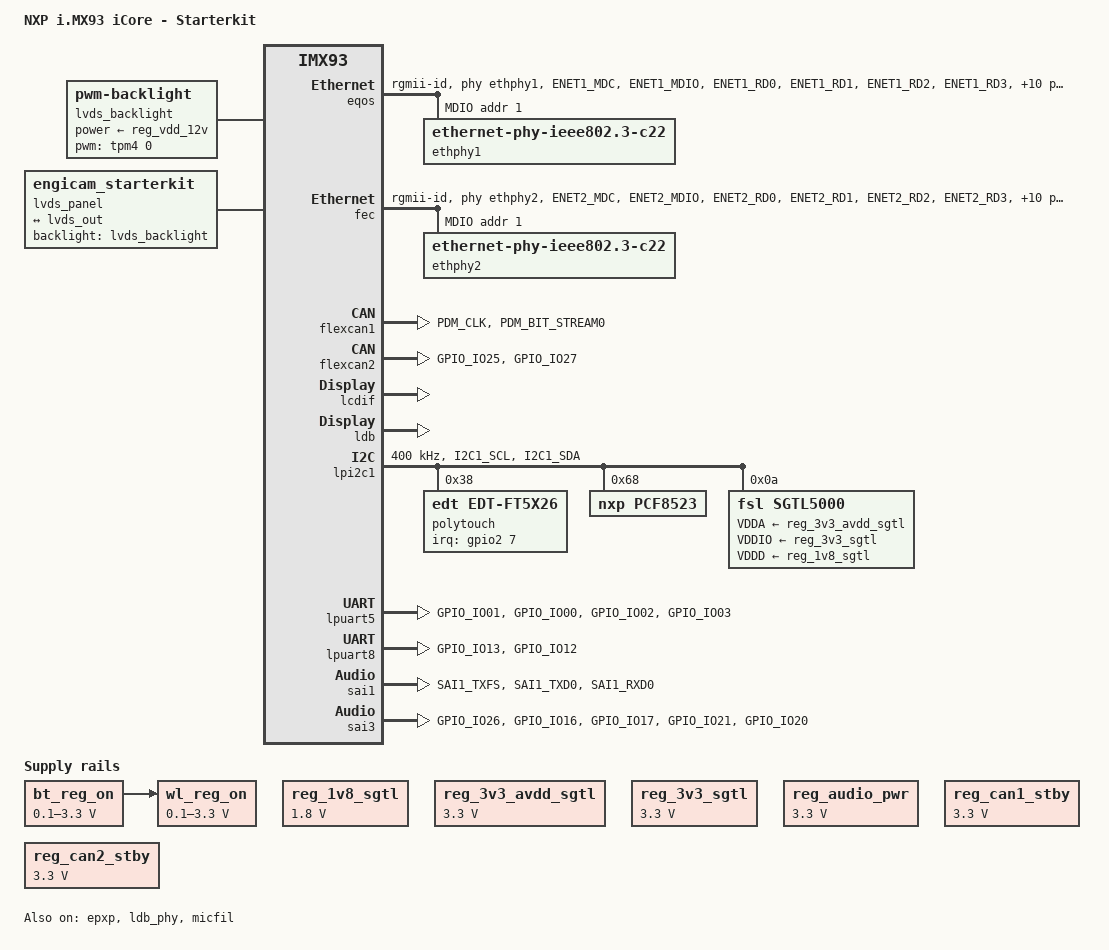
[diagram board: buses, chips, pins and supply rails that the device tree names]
// SPDX-License-Identifier: (GPL-2.0+ OR MIT)
/*
 * Copyright 2022 NXP
 */

/dts-v1/;

#include "imx93-icore.dtsi"
#include <dt-bindings/net/mxl-8611x.h>

/ {
	model = "NXP i.MX93 iCore - Starterkit";

	bt_reg_on: regulator-btregon {
		compatible = "regulator-gpio";
		regulator-name = "BT_REG_ON";
		pinctrl-names = "default";
		regulator-min-microvolt = <100000>;
		regulator-max-microvolt = <3300000>;
		states = <3300000 0x1>,
				 <100000 0x0>;
		gpios = <&gpio2 19 GPIO_ACTIVE_HIGH>;
		regulator-always-on;
	};

	lvds_backlight: lvds_backlight {
		compatible = "pwm-backlight";
		pwms = <&tpm4 0 100000 0>;
		power-supply = <&reg_vdd_12v>;
		status = "okay";

		brightness-levels = < 0  1  2  3  4  5  6  7  8  9
				     10 11 12 13 14 15 16 17 18 19
				     20 21 22 23 24 25 26 27 28 29
				     30 31 32 33 34 35 36 37 38 39
				     40 41 42 43 44 45 46 47 48 49
				     50 51 52 53 54 55 56 57 58 59
				     60 61 62 63 64 65 66 67 68 69
				     70 71 72 73 74 75 76 77 78 79
				     80 81 82 83 84 85 86 87 88 89
				     90 91 92 93 94 95 96 97 98 99
				    100>;
		default-brightness-level = <80>;
	};

	lvds_panel {
		compatible = "engicam_starterkit";
		backlight = <&lvds_backlight>;

		port {
			panel_lvds_in: endpoint {
				remote-endpoint = <&lvds_out>;
			};
		};
	};

	reg_1v8_sgtl: reg_1v8_sgtl_regulator {
		compatible = "regulator-fixed";
		regulator-name = "1v8_sgtl";
		regulator-min-microvolt = <1800000>;
		regulator-max-microvolt = <1800000>;
		always-on;
	};

	reg_3v3_avdd_sgtl: reg_3v3_avdd_regulator {
		compatible = "regulator-fixed";
		regulator-name = "3v3_avdd_sgtl";
		regulator-min-microvolt = <3300000>;
		regulator-max-microvolt = <3300000>;
		always-on;
	};

	reg_3v3_sgtl: reg_3v3_sgtl_regulator {
		compatible = "regulator-fixed";
		regulator-name = "3v3_sgtl";
		regulator-min-microvolt = <3300000>;
		regulator-max-microvolt = <3300000>;
		always-on;
	};

	reg_audio_pwr: regulator-audio-pwr {
		compatible = "regulator-fixed";
		regulator-name = "audio-pwr";
		regulator-min-microvolt = <3300000>;
		regulator-max-microvolt = <3300000>;
		enable-active-high;
		regulator-always-on;
	};

	reg_can1_stby: regulator-can1-stby {
		compatible = "regulator-fixed";
		regulator-name = "can1-stby";
		regulator-min-microvolt = <3300000>;
		regulator-max-microvolt = <3300000>;
		enable-active-low;
	};

	reg_can2_stby: regulator-can2-stby {
		compatible = "regulator-fixed";
		regulator-name = "can2-stby";
		regulator-min-microvolt = <3300000>;
		regulator-max-microvolt = <3300000>;
		enable-active-low;
	};

	sound {
		compatible = "simple-audio-card";
		simple-audio-card,name = "imx93-sgtl5000";
		simple-audio-card,format = "i2s";
		simple-audio-card,bitclock-master = <&dailink_master>;
		simple-audio-card,frame-master = <&dailink_master>;
		/*simple-audio-card,mclk-fs = <1>;*/
		simple-audio-card,cpu {
			sound-dai = <&sai3>;
		};

		dailink_master: simple-audio-card,codec {
			sound-dai = <&sgtl5000>;
			clocks = <&clk IMX93_CLK_SAI3_IPG>;
		};
	};

	wl_reg_on: regulator-wlregon {
		compatible = "regulator-gpio";
		pinctrl-names = "default";
		regulator-name = "WL_REG_ON";
		regulator-min-microvolt = <100000>;
		regulator-max-microvolt = <3300000>;
		states = <3300000 0x1>,
				 <100000 0x0>;
		gpios = <&gpio2 22 GPIO_ACTIVE_HIGH>;
		enable-active-high;
		vin-supply = <&bt_reg_on>;
	};
};

&cameradev {
	status = "disabled";
};

&eqos {
	pinctrl-names = "default";
	pinctrl-0 = <&pinctrl_eqos>;
	phy-mode = "rgmii-id";
	phy-handle = <&ethphy1>;
	snps,reset-gpio = <&gpio1 12 GPIO_ACTIVE_LOW>;
	snps,reset-active-low;
	/* Reset time is 20ms, 100ms */
	snps,reset-delays-us = <0 20000 100000>;
	status = "okay";

	mdio {
		compatible = "snps,dwmac-mdio";
		#address-cells = <1>;
		#size-cells = <0>;

		ethphy1: ethernet-phy@1 {
			compatible = "ethernet-phy-ieee802.3-c22";
			reg = <1>;
			mxl-8611x,led0_cfg = <(
				MXL8611X_LEDX_CFG_LINK_UP_RX_ACT_ON |
				MXL8611X_LEDX_CFG_LINK_UP_TX_ACT_ON |
				MXL8611X_LEDX_CFG_TRAFFIC_ACT_BLINK_IND
			)>;
			mxl-8611x,led1_cfg = <(
				MXL8611X_LEDX_CFG_LINK_UP_10MB_ON |
				MXL8611X_LEDX_CFG_LINK_UP_100MB_ON |
				MXL8611X_LEDX_CFG_LINK_UP_1GB_ON
			)>;
		};
	};
};

&epxp {
	status = "okay";
};

&fec {
	pinctrl-names = "default";
	pinctrl-0 = <&pinctrl_fec>;
	phy-mode = "rgmii-id";
	phy-handle = <&ethphy2>;
	snps,reset-gpio = <&gpio3 7 GPIO_ACTIVE_LOW>;
	snps,reset-active-low;
	/* Reset time is 20ms, 100ms */
	snps,reset-delays-us = <0 20000 100000>;	
	fsl,magic-packet;
	status = "okay";

	mdio {
		#address-cells = <1>;
		#size-cells = <0>;

		ethphy2: ethernet-phy@1 {
			compatible = "ethernet-phy-ieee802.3-c22";
			reg = <1>;
			mxl-8611x,led0_cfg = <(
				MXL8611X_LEDX_CFG_LINK_UP_RX_ACT_ON |
				MXL8611X_LEDX_CFG_LINK_UP_TX_ACT_ON |
				MXL8611X_LEDX_CFG_TRAFFIC_ACT_BLINK_IND
			)>;
			mxl-8611x,led1_cfg = <(
				MXL8611X_LEDX_CFG_LINK_UP_10MB_ON |
				MXL8611X_LEDX_CFG_LINK_UP_100MB_ON |
				MXL8611X_LEDX_CFG_LINK_UP_1GB_ON
			)>;
		};
	};
};

&flexcan1 {
	pinctrl-names = "default";
	pinctrl-0 = <&pinctrl_flexcan1>;
	fsl,stop-mode = <&anomix_ns_gpr 0x10 4>;
	status = "okay";
};

&flexcan2 {
	pinctrl-names = "default";
	pinctrl-0 = <&pinctrl_flexcan2>;
	fsl,stop-mode = <&anomix_ns_gpr 0x10 4>;
	status = "okay";
};

&lcdif {
	status = "okay";
	assigned-clock-rates = <498000000>, <71142857>, <400000000>, <133333333>;
};

&ldb {
	status = "okay";

	lvds-channel@0 {
		status = "okay";

		port@1 {
			reg = <1>;

			lvds_out: endpoint {
				remote-endpoint = <&panel_lvds_in>;
			};
		};
	};
};

&ldb_phy {
	status = "okay";
};

/*
 * When add, delete or change any target device setting in &lpi2c1,
 * please synchronize the changes to the &i3c1 bus in imx93-11x11-evk-i3c.dts.
 */
&lpi2c1 {
	#address-cells = <1>;
	#size-cells = <0>;
	clock-frequency = <400000>;
	pinctrl-names = "default", "sleep";
	pinctrl-0 = <&pinctrl_lpi2c1>;
	pinctrl-1 = <&pinctrl_lpi2c1>;
	status = "okay";

	polytouch: edt-ft5x26@38 {
		compatible = "edt,edt-ft5x26";
		reg = <0x38>;
		pinctrl-names = "default";
		pinctrl-0 = <&edt_ft5x06_pins>;
		interrupt-parent = <&gpio2>;
		interrupts = <7 IRQ_TYPE_EDGE_FALLING>;
	};

	pcf8523: rtc@68 {
		compatible = "nxp,pcf8523";
		reg = <0x68>;
	};

	sgtl5000: codec@a {
		compatible = "fsl,sgtl5000";
		status = "okay";
		#sound-dai-cells = <0>;
		reg = <0x0a>;
		clocks = <&clk IMX93_CLK_SAI3_GATE>;
		clock-names = "mclk";
		assigned-clock-rates = <12000000>, <12000000>;
		VDDA-supply = <&reg_3v3_avdd_sgtl>;
		VDDIO-supply = <&reg_3v3_sgtl>;
		VDDD-supply = <&reg_1v8_sgtl>;
	};
};

&lpuart5 { /* RS485 */
	pinctrl-names = "default";
	pinctrl-0 = <&pinctrl_uart5>;
	status = "okay";
};

&lpuart8 { /* RS232 */
	pinctrl-names = "default";
	pinctrl-0 = <&pinctrl_uart8>;
	status = "okay";
};

&micfil {
	#sound-dai-cells = <0>;
	pinctrl-names = "default";
	assigned-clocks = <&clk IMX93_CLK_PDM>;
	assigned-clock-parents = <&clk IMX93_CLK_AUDIO_PLL>;
	assigned-clock-rates = <196608000>;
	status = "okay";
};

&sai1 {
	#sound-dai-cells = <0>;
	pinctrl-names = "default";
	pinctrl-0 = <&pinctrl_sai1>;
	assigned-clocks = <&clk IMX93_CLK_SAI1>;
	assigned-clock-parents = <&clk IMX93_CLK_AUDIO_PLL>;
	assigned-clock-rates = <12288000>;
	status = "okay";
};

&sai3 {
	pinctrl-names = "default";
	#sound-dai-cells = <0>;
	pinctrl-0 = <&pinctrl_sai3>;
	assigned-clocks = <&clk IMX93_CLK_SAI3>;
	assigned-clock-parents = <&clk IMX93_CLK_AUDIO_PLL>;
	assigned-clock-rates = <24576000>;
	fsl,sai-mclk-direction-output;
	status = "okay";
};

&iomuxc {

	edt_ft5x06_pins: edt-ft5x06-pins-grp{
		fsl,pins = <
			MX93_PAD_GPIO_IO07__GPIO2_IO07	0x31e	/* INT */
		>;
	};

	pinctrl_eqos: eqosgrp {
		fsl,pins = <
			MX93_PAD_ENET1_MDC__ENET_QOS_MDC                        0x1e
			MX93_PAD_ENET1_MDIO__ENET_QOS_MDIO                      0x1e
			MX93_PAD_ENET1_RD0__ENET_QOS_RGMII_RD0                  0x1e
			MX93_PAD_ENET1_RD1__ENET_QOS_RGMII_RD1                  0x1e
			MX93_PAD_ENET1_RD2__ENET_QOS_RGMII_RD2                  0x1e
			MX93_PAD_ENET1_RD3__ENET_QOS_RGMII_RD3                  0x1e
			MX93_PAD_ENET1_RXC__CCM_ENET_QOS_CLOCK_GENERATE_RX_CLK  0x1e
			MX93_PAD_ENET1_RX_CTL__ENET_QOS_RGMII_RX_CTL            0x1e
			MX93_PAD_ENET1_TD0__ENET_QOS_RGMII_TD0                  0x1e
			MX93_PAD_ENET1_TD1__ENET_QOS_RGMII_TD1                  0x1e
			MX93_PAD_ENET1_TD2__ENET_QOS_RGMII_TD2                  0x1e
			MX93_PAD_ENET1_TD3__ENET_QOS_RGMII_TD3                  0x1e
			MX93_PAD_ENET1_TXC__CCM_ENET_QOS_CLOCK_GENERATE_TX_CLK  0x1e
			MX93_PAD_ENET1_TX_CTL__ENET_QOS_RGMII_TX_CTL            0x1e
			MX93_PAD_SAI1_TXC__GPIO1_IO12							0x1e
		>;
	};

	pinctrl_fec: fecgrp {
		fsl,pins = <
			MX93_PAD_ENET2_MDC__ENET1_MDC                   0x1e
			MX93_PAD_ENET2_MDIO__ENET1_MDIO                 0x1e
			MX93_PAD_ENET2_RD0__ENET1_RGMII_RD0             0x1e
			MX93_PAD_ENET2_RD1__ENET1_RGMII_RD1             0x1e
			MX93_PAD_ENET2_RD2__ENET1_RGMII_RD2             0x1e
			MX93_PAD_ENET2_RD3__ENET1_RGMII_RD3             0x1e
			MX93_PAD_ENET2_RXC__ENET1_RGMII_RXC             0x1e
			MX93_PAD_ENET2_RX_CTL__ENET1_RGMII_RX_CTL       0x1e
			MX93_PAD_ENET2_TD0__ENET1_RGMII_TD0             0x1e
			MX93_PAD_ENET2_TD1__ENET1_RGMII_TD1             0x1e
			MX93_PAD_ENET2_TD2__ENET1_RGMII_TD2             0x1e
			MX93_PAD_ENET2_TD3__ENET1_RGMII_TD3             0x1e
			MX93_PAD_ENET2_TXC__ENET1_RGMII_TXC             0x1e
			MX93_PAD_ENET2_TX_CTL__ENET1_RGMII_TX_CTL       0x1e
			MX93_PAD_SD2_RESET_B__GPIO3_IO07       			0x1e
		>;
	};

	pinctrl_flexcan1: flexcan1grp {
		fsl,pins = <
			MX93_PAD_PDM_CLK__CAN1_TX	0x139e
			MX93_PAD_PDM_BIT_STREAM0__CAN1_RX	0x139e
		>;
	};

	pinctrl_flexcan2: flexcan2grp {
		fsl,pins = <
			MX93_PAD_GPIO_IO25__CAN2_TX	0x139e
			MX93_PAD_GPIO_IO27__CAN2_RX	0x139e
		>;
	};

	pinctrl_laird: lairdgrp {
		fsl,pins = <
			MX93_PAD_GPIO_IO22__GPIO2_IO22			0x31e //WL_REG_ON
			MX93_PAD_GPIO_IO19__GPIO2_IO19			0x31e //BT_REG_ON
		>;
	};

	pinctrl_lpi2c1: lpi2c1grp {
		fsl,pins = <
			MX93_PAD_I2C1_SCL__LPI2C1_SCL			0x40000b9e
			MX93_PAD_I2C1_SDA__LPI2C1_SDA			0x40000b9e
		>;
	};

	pinctrl_lpi2c2: lpi2c2grp {
		fsl,pins = <
			MX93_PAD_I2C2_SCL__LPI2C2_SCL			0x40000b9e
			MX93_PAD_I2C2_SDA__LPI2C2_SDA			0x40000b9e
		>;
	};

	pinctrl_sai1: sai1grp {
		fsl,pins = <
			MX93_PAD_SAI1_TXFS__SAI1_TX_SYNC		0x31e
			MX93_PAD_SAI1_TXD0__SAI1_TX_DATA00		0x31e
			MX93_PAD_SAI1_RXD0__SAI1_RX_DATA00		0x31e
		>;
	};

	pinctrl_sai3: sai3grp {
		fsl,pins = <
			MX93_PAD_GPIO_IO26__SAI3_TX_SYNC		0x31e
			MX93_PAD_GPIO_IO16__SAI3_TX_BCLK		0x31e
			MX93_PAD_GPIO_IO17__SAI3_MCLK		0x31e
			MX93_PAD_GPIO_IO21__SAI3_TX_DATA00		0x31e
			MX93_PAD_GPIO_IO20__SAI3_RX_DATA00		0x31e
		>;
	};

	pinctrl_uart5: uart5grp {
		fsl,pins = <
			MX93_PAD_GPIO_IO01__LPUART5_RX			0x31e
			MX93_PAD_GPIO_IO00__LPUART5_TX			0x31e
			MX93_PAD_GPIO_IO02__LPUART5_CTS_B		0x31e
			MX93_PAD_GPIO_IO03__LPUART5_RTS_B		0x31e
		>;
	};

	pinctrl_uart8: uart8grp {
		fsl,pins = <
			MX93_PAD_GPIO_IO13__LPUART8_RX			0x31e
			MX93_PAD_GPIO_IO12__LPUART8_TX			0x31e
		>;
	};
};
